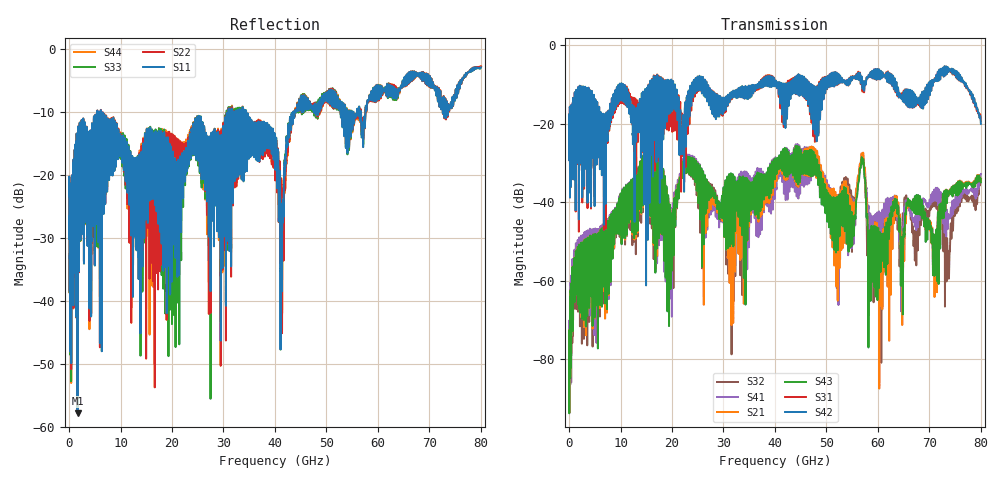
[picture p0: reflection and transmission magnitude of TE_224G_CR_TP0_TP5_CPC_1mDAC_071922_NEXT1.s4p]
!! Reference: tracy_3df_01_2211
!! CHANNEL DESCRIPTION: TP0_TP5 CR Channel using 1meter DAC, CoPackage Copper Host
!! MODEL DESCRIPTION: s4p, NEXT1
!! CONNECTOR DESCRIPTION: OSFP 200G OTB
!! CABLE DESCRIPTION: 1meter 26AWG Cable
!! MODEL STATUS: Developmental
!! PORT DEFINITIONS:
!! Port  1  ----->  Side A  Side B  <-----  Port  2
!! Port  3  ----->  Side A  Side B  <-----  Port  4
# Hz S MA R 50
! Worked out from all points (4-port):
!   8000 points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, 10 MHz to 80 GHz, reference 50 ohm
!   strongest paths, dB at 10 MHz, 20.01 GHz, 40.01 GHz, 60.01 GHz, 80 GHz:
!     S42: -24.6, -16.4, -10.5, -8.1, -20.1
!     S31: -24.6, -20.2, -10.1, -8.2, -19.3
!     S43: -79.4, -51.5, -31.5, -48.1, -34.9
!     S21: -79.3, -46.6, -32.0, -50.0, -34.8
!     S41: -77.8, -47.7, -31.0, -51.6, -32.9
!     S32: -80.4, -47.6, -31.9, -55.9, -34.0
!   lowest |S11| = -57.8 dB at 1.64 GHz (marker M1), VSWR 1.00, Z = 49.9 - j0.00388 ohm
!   |S11| at or under -10 dB: start of sweep to 5.488 GHz; 6.171 GHz to 30.97 GHz (24.8 GHz wide, 134 % of centre); 34.4 GHz to 43.55 GHz (9.158 GHz wide, 23.5 % of centre)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
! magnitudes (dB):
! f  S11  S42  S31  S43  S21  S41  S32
! 10 MHz  -23.3  -24.6  -24.6  -79.4  -79.3  -77.8  -80.4
! 1.64 GHz  -57.8  -19.5  -19.6  -60.5  -60.1  -59.2  -60.5
! 14.91 GHz  -20.6  -19.5  -25.4  -26.8  -27.0  -26.7  -27.2
! 52.31 GHz  -8.4  -7.4  -7.5  -40.1  -40.7  -57.5  -41.9
! 56.89 GHz  -13.2  -8.9  -9.4  -28.7  -28.0  -27.9  -28.7
! 60.33 GHz  -5.8  -8.1  -8.1  -49.1  -53.3  -49.0  -63.2
! 80 GHz  -2.9  -20.1  -19.3  -34.9  -34.8  -32.9  -34.0
